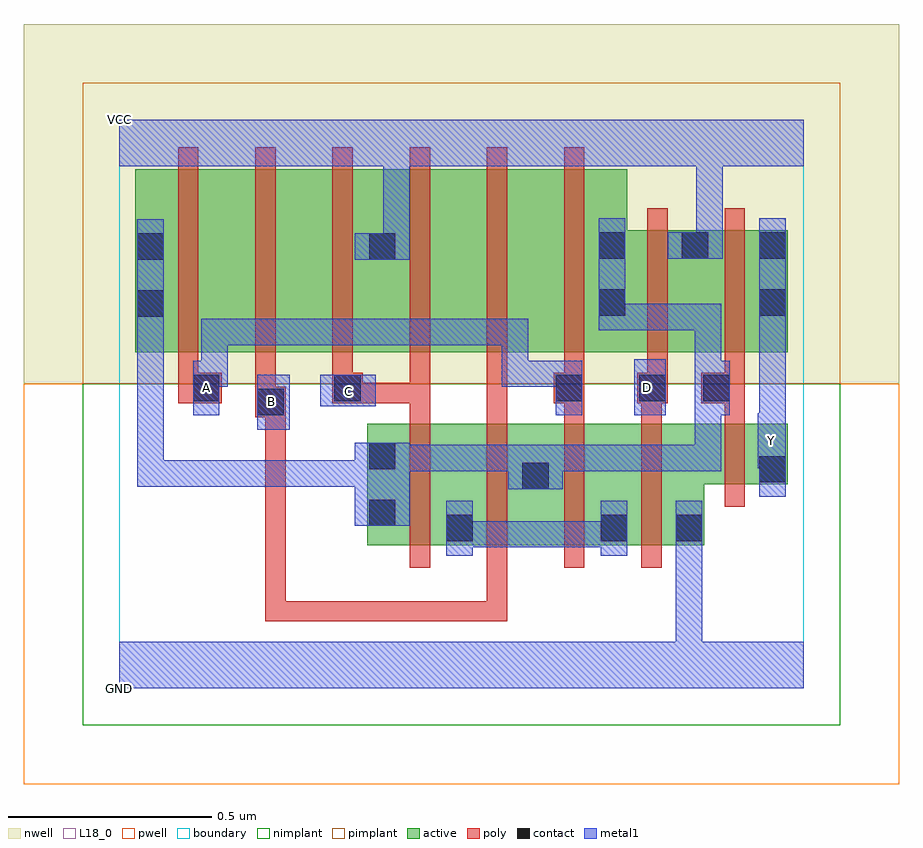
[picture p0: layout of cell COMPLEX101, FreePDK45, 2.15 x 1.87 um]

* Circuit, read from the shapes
.subckt COMPLEX101 A B C D GND VCC Y
M1 n1 C n2 VSUBS nfet w=0.3u l=0.05u
M2 n2 B n1 VSUBS nfet w=0.3u l=0.05u
M3 n1 A n2 VSUBS nfet w=0.3u l=0.05u
M4 GND D n1 VSUBS nfet w=0.3u l=0.05u
M5 Y n2 GND VSUBS nfet w=0.15u l=0.05u
M6 n3 A n2 n4 pfet w=0.45u l=0.05u
M7 n5 B n3 n4 pfet w=0.45u l=0.05u
M8 VCC C n5 n4 pfet w=0.45u l=0.05u
M9 n6 C VCC n4 pfet w=0.45u l=0.05u
M10 n7 B n6 n4 pfet w=0.45u l=0.05u
M11 n2 A n7 n4 pfet w=0.45u l=0.05u
M12 VCC D n2 n4 pfet w=0.3u l=0.05u
M13 Y n2 VCC n4 pfet w=0.3u l=0.05u
.ends

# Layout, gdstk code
import gdstk
lib = gdstk.Library(unit=1e-6, precision=1e-09)
def R(c, l, rs):  # rectangles x0, y0, x1, y1
    for r in rs: c.add(gdstk.rectangle(r[:2], r[2:], *l))
def A(c, l, x, y, w, h, nx, ny, dx, dy):  # array of equal rectangles
    R(c, l, [(x+i*dx, y+j*dy, x+i*dx+w, y+j*dy+h) for i in range(nx) for j in range(ny)])
active = (1, 0)
pwell = (2, 0)
nwell = (3, 0)
nimplant = (4, 0)
pimplant = (5, 0)
poly = (9, 0)
contact = (10, 0)
metal1 = (11, 0)
L18_0 = (18, 0)
boundary = (235, 0)

complex101 = lib.new_cell('COMPLEX101')
R(complex101, active, [(0.61,0.352,0.685,0.652), (0.61,0.352,0.875,0.652), (0.8,0.352,1.062,0.652), (0.8,0.352,0.875,0.652), (0.987,0.352,1.255,0.652), (0.987,0.352,1.062,0.56), (1.18,0.352,1.44,0.652), (1.18,0.352,1.255,0.547), (1.365,0.352,1.44,0.502), (1.365,0.502,1.645,0.652), (1.57,0.502,1.645,0.652), (0.04,0.827,0.265,1.277), (0.04,0.827,0.145,1.2), (0.265,0.827,0.455,1.277), (0.455,0.827,0.685,1.277), (0.61,0.827,0.835,1.277), (0.61,0.827,0.685,1.277), (0.835,0.827,1.025,1.277), (1.025,0.827,1.25,1.277), (1.175,0.827,1.455,1.127), (1.175,0.827,1.25,1.2), (1.38,0.827,1.455,1.127), (1.38,0.827,1.645,1.127), (1.57,0.827,1.645,1.127)])
R(complex101, pwell, [(-0.235,-0.235,1.92,0.75)])
R(complex101, nwell, [(-0.235,0.75,1.92,1.635)])
R(complex101, nimplant, [(-0.09,-0.09,1.775,0.75)])
R(complex101, pimplant, [(-0.09,0.75,1.775,1.49)])
A(complex101, poly, 0.715, 0.297, 0.05, 0.41, 4, 1, 0.19, 0)
A(complex101, poly, 0.335, 0.772, 0.05, 0.56, 5, 1, 0.19, 0)
R(complex101, poly, [(0.36,0.165,0.41,0.215), (0.36,0.165,0.41,0.215), (0.36,0.165,0.41,0.215), (0.36,0.165,0.632,0.215), (0.36,0.165,0.41,0.62), (0.582,0.165,0.632,0.215), (0.582,0.165,0.632,0.215), (0.582,0.165,0.632,0.215), (0.582,0.165,0.822,0.215), (0.772,0.165,0.822,0.215), (0.772,0.165,0.955,0.215), (0.905,0.165,0.955,0.215), (0.905,0.165,0.955,0.215), (0.905,0.165,0.955,0.215), (0.905,0.165,0.955,0.347), (1.49,0.447,1.54,0.707), (0.36,0.57,0.41,0.62), (0.36,0.57,0.41,0.62), (0.36,0.57,0.41,0.62), (0.36,0.57,0.41,0.62), (0.36,0.57,0.41,0.62), (0.36,0.57,0.41,0.717), (0.715,0.657,0.765,0.752), (0.905,0.657,0.955,0.777), (1.095,0.657,1.145,0.752), (1.285,0.657,1.335,0.752), (1.49,0.657,1.54,0.752), (0.335,0.667,0.41,0.742), (0.335,0.692,0.385,0.822), (0.145,0.702,0.252,0.777), (0.525,0.702,0.6,0.777), (0.55,0.702,0.765,0.752), (0.715,0.702,0.765,0.822), (0.715,0.702,0.765,0.752), (0.715,0.702,0.765,0.752), (0.715,0.702,0.765,0.752), (1.07,0.702,1.145,0.777), (1.275,0.702,1.35,0.777), (1.432,0.702,1.54,0.777), (0.145,0.727,0.195,0.777), (0.145,0.727,0.195,1.332), (0.525,0.727,0.575,0.822), (0.905,0.727,0.955,0.822), (0.905,0.727,0.955,0.777), (1.095,0.727,1.145,0.822), (1.3,0.727,1.35,0.822), (1.49,0.727,1.54,0.822), (1.3,0.772,1.35,1.182), (1.49,0.772,1.54,1.182)])
R(complex101, contact, [(0.805,0.362,0.87,0.427), (1.185,0.362,1.25,0.427), (1.37,0.362,1.435,0.427), (0.615,0.4,0.68,0.465), (0.992,0.49,1.057,0.555), (1.575,0.507,1.64,0.572), (0.615,0.54,0.68,0.605), (0.34,0.672,0.405,0.737), (0.182,0.707,0.247,0.772), (0.53,0.707,0.595,0.772), (1.075,0.707,1.14,0.772), (1.28,0.707,1.345,0.772), (1.437,0.707,1.502,0.772), (0.045,0.915,0.11,0.98), (1.18,0.917,1.245,0.982), (1.575,0.917,1.64,0.982), (0.045,1.055,0.11,1.12), (0.615,1.055,0.68,1.12), (1.18,1.057,1.245,1.122), (1.385,1.057,1.45,1.122), (1.575,1.057,1.64,1.122)])
R(complex101, metal1, [(0,0,1.685,0.115), (1.37,0.05,1.435,0.115), (1.37,0.05,1.435,0.115), (1.37,0.05,1.435,0.392), (0.805,0.327,0.87,0.462), (1.185,0.327,1.25,0.462), (1.37,0.327,1.435,0.392), (1.37,0.327,1.435,0.392), (1.37,0.327,1.435,0.462), (0.805,0.347,0.87,0.412), (0.805,0.347,0.87,0.412), (0.805,0.347,1.007,0.412), (0.942,0.347,1.007,0.412), (0.942,0.347,1.092,0.412), (1.027,0.347,1.092,0.412), (1.027,0.347,1.25,0.412), (0.58,0.4,0.715,0.605), (1.575,0.472,1.64,0.607), (0.957,0.49,1.092,0.6), (0.045,0.497,0.11,0.562), (0.045,0.497,0.267,0.562), (0.045,0.497,0.11,0.945), (0.202,0.497,0.267,0.562), (0.202,0.497,0.267,0.562), (0.202,0.497,0.267,0.562), (0.202,0.497,0.422,0.562), (0.357,0.497,0.422,0.562), (0.357,0.497,0.422,0.562), (0.357,0.497,0.422,0.562), (0.357,0.497,0.56,0.562), (0.495,0.497,0.56,0.562), (0.495,0.497,0.645,0.562), (0.65,0.535,0.715,0.6), (0.65,0.535,0.715,0.6), (0.65,0.535,0.852,0.6), (0.787,0.535,0.852,0.6), (0.787,0.535,0.852,0.6), (0.787,0.535,0.852,0.6), (0.787,0.535,1.022,0.6), (1.027,0.535,1.092,0.6), (1.027,0.535,1.092,0.6), (1.027,0.535,1.23,0.6), (1.165,0.535,1.23,0.6), (1.165,0.535,1.23,0.6), (1.165,0.535,1.23,0.6), (1.165,0.535,1.482,0.6), (1.417,0.535,1.482,0.6), (1.417,0.535,1.482,0.737), (1.572,0.542,1.64,0.677), (1.575,0.542,1.64,0.607), (1.575,0.612,1.64,0.947), (0.34,0.637,0.42,0.772), (0.182,0.672,0.247,0.807), (1.075,0.672,1.14,0.807), (1.267,0.672,1.345,0.81), (1.417,0.672,1.482,0.947), (1.417,0.672,1.482,0.737), (1.417,0.672,1.502,0.737), (1.437,0.672,1.502,0.807), (0.495,0.695,0.632,0.772), (0.182,0.742,0.267,0.807), (0.202,0.742,0.267,0.807), (0.202,0.742,0.267,0.91), (0.942,0.742,1.007,0.807), (0.942,0.742,1.14,0.807), (0.942,0.742,1.007,0.91), (0.202,0.845,0.267,0.91), (0.202,0.845,0.422,0.91), (0.357,0.845,0.422,0.91), (0.357,0.845,0.422,0.91), (0.357,0.845,0.422,0.91), (0.357,0.845,0.56,0.91), (0.495,0.845,0.56,0.91), (0.495,0.845,0.715,0.91), (0.65,0.845,0.715,0.91), (0.65,0.845,0.715,0.91), (0.65,0.845,0.715,0.91), (0.65,0.845,0.852,0.91), (0.787,0.845,0.852,0.91), (0.787,0.845,0.852,0.91), (0.787,0.845,0.852,0.91), (0.787,0.845,1.007,0.91), (0.942,0.845,1.007,0.91), (0.045,0.88,0.11,1.155), (0.045,0.88,0.11,0.945), (0.045,0.88,0.11,0.945), (1.18,0.882,1.245,1.157), (1.18,0.882,1.245,0.947), (1.18,0.882,1.245,0.947), (1.18,0.882,1.482,0.947), (1.417,0.882,1.482,0.947), (1.575,0.882,1.64,1.157), (0.58,1.055,0.715,1.12), (0.65,1.055,0.715,1.35), (1.35,1.057,1.485,1.122), (1.42,1.057,1.485,1.35), (0,1.285,1.685,1.4), (1.42,1.285,1.485,1.35), (1.42,1.285,1.485,1.35)])
R(complex101, L18_0, [(0,0,1.685,0.115), (1.37,0.05,1.435,0.115), (1.37,0.05,1.435,0.115), (1.37,0.05,1.435,0.392), (1.37,0.327,1.435,0.462), (1.37,0.327,1.435,0.392), (1.37,0.327,1.435,0.392), (1.575,0.472,1.64,0.607), (1.572,0.542,1.64,0.677), (1.575,0.542,1.64,0.607), (1.572,0.577,1.637,0.642), (1.575,0.612,1.64,0.947), (0.34,0.637,0.42,0.772), (0.182,0.672,0.247,0.807), (0.342,0.672,0.407,0.737), (1.075,0.672,1.14,0.807), (1.267,0.672,1.345,0.81), (0.495,0.695,0.632,0.772), (0.532,0.697,0.597,0.762), (0.182,0.707,0.247,0.772), (1.267,0.707,1.332,0.772), (0.182,0.742,0.267,0.807), (0.202,0.742,0.267,0.807), (0.202,0.742,0.267,0.91), (0.942,0.742,1.007,0.807), (0.942,0.742,1.007,0.91), (0.942,0.742,1.14,0.807), (0.202,0.845,0.267,0.91), (0.202,0.845,0.422,0.91), (0.357,0.845,0.422,0.91), (0.357,0.845,0.422,0.91), (0.357,0.845,0.422,0.91), (0.357,0.845,0.56,0.91), (0.495,0.845,0.56,0.91), (0.495,0.845,0.715,0.91), (0.65,0.845,0.715,0.91), (0.65,0.845,0.715,0.91), (0.65,0.845,0.715,0.91), (0.65,0.845,0.852,0.91), (0.787,0.845,0.852,0.91), (0.787,0.845,0.852,0.91), (0.787,0.845,0.852,0.91), (0.787,0.845,1.007,0.91), (0.942,0.845,1.007,0.91), (1.575,0.882,1.64,1.157), (0.58,1.055,0.715,1.12), (0.65,1.055,0.715,1.35), (1.35,1.057,1.485,1.122), (1.42,1.057,1.485,1.35), (0,1.285,1.685,1.4), (1.42,1.285,1.485,1.35), (1.42,1.285,1.485,1.35)])
R(complex101, boundary, [(0,0,1.685,1.4)])
complex101.add(gdstk.Label('A', (0.215,0.74), layer=11, texttype=0))
complex101.add(gdstk.Label('B', (0.375,0.705), layer=11, texttype=0))
complex101.add(gdstk.Label('C', (0.565,0.73), layer=11, texttype=0))
complex101.add(gdstk.Label('D', (1.3,0.74), layer=11, texttype=0))
complex101.add(gdstk.Label('Y', (1.605,0.61), layer=11, texttype=0))
complex101.add(gdstk.Label('VCC', (0,1.4), layer=11, texttype=0))
complex101.add(gdstk.Label('GND', (0,0), layer=11, texttype=0))

lib.write_gds('COMPLEX101.gds')
